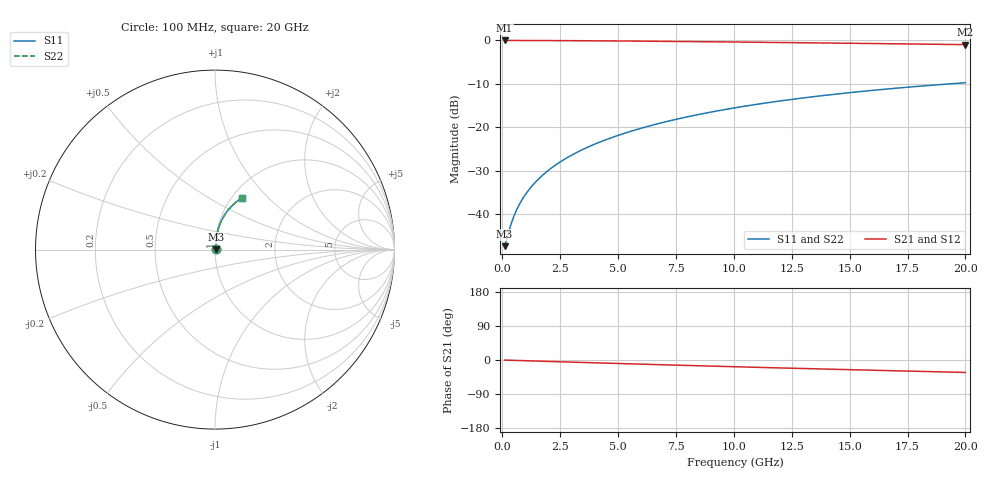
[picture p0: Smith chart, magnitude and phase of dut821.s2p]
! Touchstone file exported from HFSS 2024.1.0
!  File:  C:/UserFiles/LocalFiles/RDL_TSV_Batchsim/temp_RDL_bottom_821_1779862789.aedt
!  Generated:  02:22:34 PM May 27, 2026
!  Design:  RDL_bottom
!  Project:  temp_RDL_bottom_821_1779862789
!  Setup:  Setup1
!  Solution:  Sweep
! Variables:
!  dtsv = 10.80580581um
!  hbump = 3um
!  htsv = 63.95um
!  ldown = 452.64um
!  lrdl = 100um
!  p = 40
!  p1 = 42.45um
!  rhole = 1um
!  t = 450um
!  tdown = 2.29um
!  trdl = 3.915915916um
!  wdown = 19.17um
!  wrdl = 20um
# GHz S MA R 50.000000
! Terminal data exported
! Port[1] = RDL1_T1
! Port[2] = RDL1_T2
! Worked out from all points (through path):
!   200 points, 100 MHz to 20 GHz, reference 50 ohm
!   highest |S21| = -0.03 dB at 100 MHz (marker M1); lowest = -1.0 dB at 20 GHz (marker M2)
!   group delay of S21, straight-line fit = 4.54 ps
!   lowest |S11| = -47.3 dB at 100 MHz (marker M3), VSWR 1.01, Z = 50.4 + j0.175 ohm
!   |S11| at or under -10 dB: start of sweep to 19.36 GHz
!   |S22| runs from -47.3 to -9.8 dB; largest |S21 - S12| = 3e-15
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0.1  0.004302 23.9  0.9961 -0.2  0.9961 -0.2  0.004302 23.9
! Gamma 0 0 0 0
! Port Impedance 50 0 50 0
0.3  0.006596 51.2  0.9958 -0.6  0.9958 -0.6  0.006596 51.2
0.4  0.008016 57.9  0.9957 -0.8  0.9957 -0.8  0.008017 57.9
0.6  0.01096 65.6  0.9953 -1.2  0.9953 -1.2  0.01096 65.6
0.7  0.01245 68.1  0.9952 -1.4  0.9952 -1.4  0.01245 68.1
0.9  0.01543 71.6  0.9948 -1.7  0.9948 -1.7  0.01543 71.6
1.2  0.01993 75.1  0.9943 -2.3  0.9943 -2.3  0.01993 75.1
1.4  0.02295 76.7  0.994 -2.7  0.994 -2.7  0.02295 76.7
1.7  0.02754 78.5  0.9934 -3.2  0.9934 -3.2  0.02754 78.4
2.2  0.03529 80.3  0.9923 -4.2  0.9923 -4.2  0.03529 80.3
2.8  0.04476 81.6  0.9908 -5.3  0.9908 -5.3  0.04476 81.6
3.5  0.056 82.3  0.9886 -6.6  0.9886 -6.6  0.056 82.3
4.2  0.06745 82.6  0.986 -7.8  0.986 -7.8  0.06745 82.5
5  0.08076 82.4  0.9827 -9.3  0.9827 -9.3  0.08076 82.4
5.9  0.09598 81.9  0.9786 -10.8  0.9786 -10.8  0.09598 81.9
6.8  0.1114 81.2  0.9741 -12.4  0.9741 -12.4  0.1114 81.2
8.4  0.1391 79.5  0.9654 -15.1  0.9654 -15.1  0.1391 79.4
10.1  0.1685 77.2  0.9555 -17.9  0.9555 -17.9  0.1685 77.2
11.7  0.1959 74.9  0.9458 -20.5  0.9458 -20.5  0.1959 74.9
13.4  0.2243 72.4  0.9351 -23.1  0.9351 -23.1  0.2243 72.3
16.7  0.2769 67.3  0.9137 -28.1  0.9137 -28.1  0.2769 67.3
20  0.3253 62.4  0.8919 -32.9  0.8919 -32.9  0.3253 62.4
